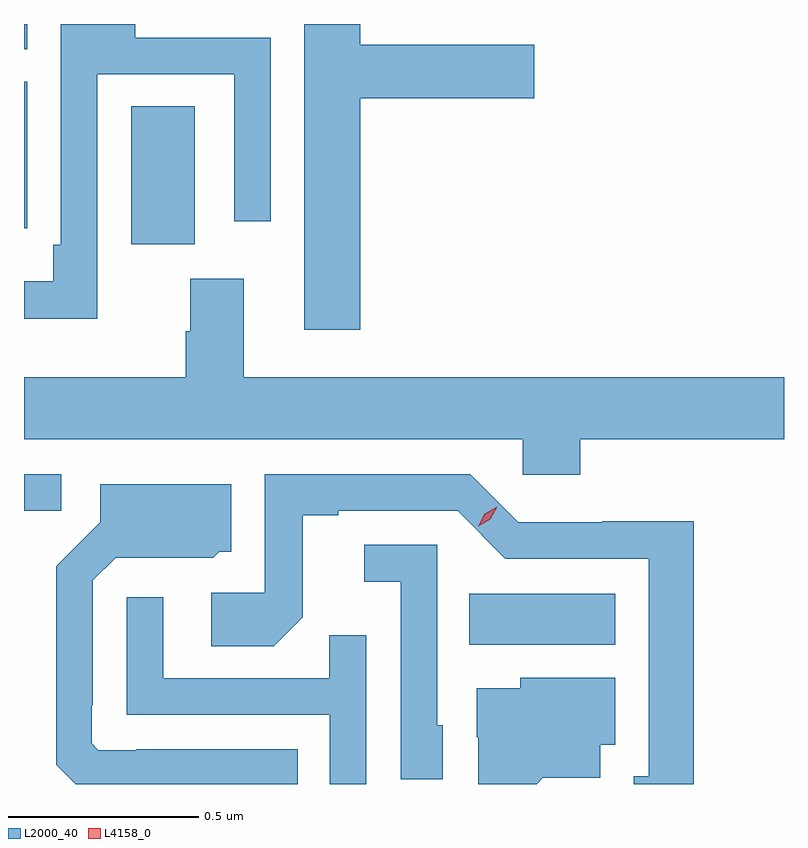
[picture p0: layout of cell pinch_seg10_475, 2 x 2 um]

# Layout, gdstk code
import gdstk
lib = gdstk.Library(unit=1e-6, precision=1e-09)
def R(c, l, rs):  # rectangles x0, y0, x1, y1
    for r in rs: c.add(gdstk.rectangle(r[:2], r[2:], *l))
def P(c, l, *ps):  # polygons
    for p in ps: c.add(gdstk.Polygon(p, *l))
L2000_40 = (2000, 40)
L4158_0 = (4158, 0)

pinch_seg10_475 = lib.new_cell('pinch_seg10_475')
R(pinch_seg10_475, L2000_40, [(352.486,1301.108,352.87,1301.242), (351.314,1301.46,351.412,1301.556), (351.596,1302.162,351.763,1302.524), (351.314,1302.203,351.322,1302.589), (351.314,1302.674,351.322,1302.741)])
P(pinch_seg10_475, L2000_40, [(351.507,1302.609),(351.867,1302.609),(351.867,1302.222),(351.963,1302.222),(351.963,1302.705),(351.607,1302.705),(351.607,1302.741),(351.411,1302.741),(351.411,1302.16),(351.391,1302.16),(351.391,1302.064),(351.314,1302.064),(351.314,1301.966),(351.507,1301.966)],
  [(352.199,1302.545),(352.657,1302.545),(352.657,1302.687),(352.199,1302.687),(352.199,1302.741),(352.052,1302.741),(352.052,1301.937),(352.199,1301.937)],
  [(351.892,1302.07),(351.752,1302.07),(351.752,1301.933),(351.74,1301.933),(351.74,1301.812),(351.314,1301.812),(351.314,1301.648),(352.626,1301.648),(352.626,1301.555),(352.778,1301.555),(352.778,1301.648),(353.314,1301.648),(353.314,1301.812),(351.892,1301.812)],
  [(353.077,1301.432),(352.836,1301.432),(352.836,1301.43),(352.614,1301.43),(352.488,1301.556),(351.948,1301.556),(351.948,1301.244),(351.807,1301.244),(351.807,1301.104),(351.971,1301.104),(352.047,1301.18),(352.047,1301.448),(352.141,1301.448),(352.141,1301.46),(352.455,1301.46),(352.581,1301.334),(352.958,1301.334),(352.958,1300.761),(352.919,1300.761),(352.919,1300.741),(353.077,1300.741)],
  [(352.034,1300.833),(351.61,1300.833),(351.61,1300.83),(351.51,1300.83),(351.492,1300.848),(351.492,1300.948),(351.495,1300.948),(351.495,1301.277),(351.555,1301.337),(351.678,1301.337),(351.678,1301.336),(351.812,1301.336),(351.828,1301.352),(351.859,1301.352),(351.859,1301.53),(351.515,1301.53),(351.515,1301.43),(351.399,1301.314),(351.399,1300.792),(351.45,1300.741),(352.034,1300.741)],
  [(352.416,1300.896),(352.401,1300.896),(352.401,1301.37),(352.209,1301.37),(352.209,1301.273),(352.305,1301.273),(352.305,1300.753),(352.416,1300.753)],
  [(352.215,1301.132),(352.117,1301.132),(352.117,1301.019),(351.681,1301.019),(351.681,1301.233),(351.585,1301.233),(351.585,1300.923),(352.119,1300.923),(352.119,1300.741),(352.215,1300.741)],
  [(352.679,1300.757),(352.831,1300.757),(352.831,1300.844),(352.87,1300.844),(352.87,1301.02),(352.62,1301.02),(352.62,1300.993),(352.505,1300.993),(352.505,1300.864),(352.509,1300.864),(352.509,1300.741),(352.663,1300.741)])
P(pinch_seg10_475, L4158_0, [(352.509,1301.419),(352.509,1301.419),(352.527,1301.452),(352.559,1301.471),(352.559,1301.471),(352.559,1301.471),(352.541,1301.438),(352.509,1301.419)])

lib.write_gds('pinch_seg10_475.gds')
